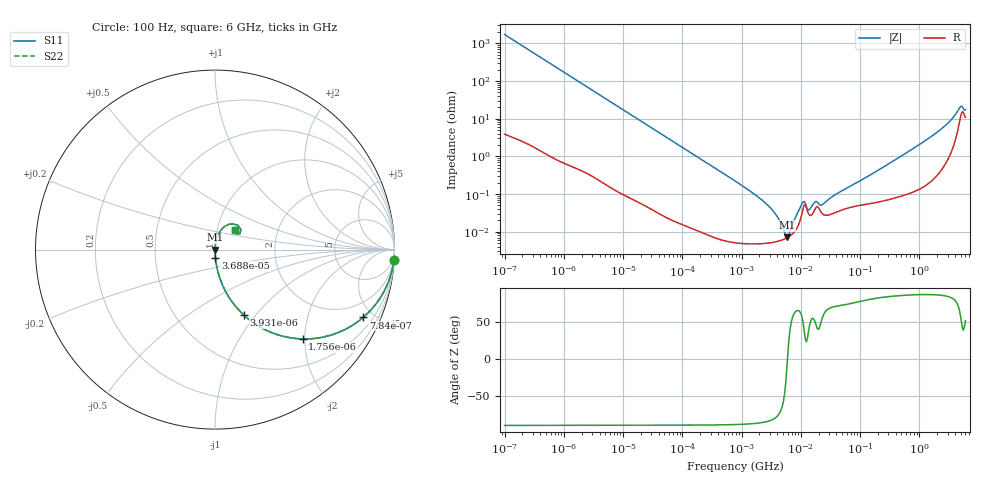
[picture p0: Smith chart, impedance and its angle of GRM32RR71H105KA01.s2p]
!Murata Part Number: GRM32RR71H105KA01
!These Parameters are Measured in Series Mode Connection
!Data Generated on Mar 30, 2021
!  o--ll--o
!Port1  Port2
!  o------o
!Operation Temp=25[degC], DC Bias Voltage=0[V]
!Freq. Start=100[Hz] Stop=6[GHz] 401[Steps]
# Hz S RI R 50
!Freq.(Hz) S11(Real) S11(Imag) S21(Real) S21(Imag) S12(Real) S12(Imag) S22(Real) S22(Imag)
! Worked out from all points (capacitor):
!   401 points, 100 Hz to 6 GHz, reference 50 ohm
!   read as one part in series: C = 934 nF near 109 Hz
!   lowest |Z| = 7.06 mohm at 5.809 MHz (marker M1)
!   series resonance near 5.958 MHz, so ESL is about 760 pH
!   S11 on the Smith chart (normalised r, x): 100 Hz: 1, -34; 784 Hz: 1.02, -4.36; 1.756 kHz: 1.01, -1.95; 3.931 kHz: 1.00, -0.87; 36.88 kHz: 1.00, -0.09; 6 GHz: 1.22, +0.27
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100  0.9964 -0.0585  0.00357 0.0585  0.00357 0.0585  0.9964 -0.0585
366  0.9553 -0.2049  0.0447 0.2049  0.0447 0.2049  0.9553 -0.2049
784  0.8252 -0.378  0.1748 0.378  0.1748 0.378  0.8252 -0.378
1756  0.4875 -0.4975  0.5125 0.4975  0.5125 0.4975  0.4875 -0.4975
2008  0.4216 -0.4914  0.5784 0.4914  0.5784 0.4914  0.4216 -0.4914
3931  0.1616 -0.3655  0.8384 0.3655  0.8384 0.3655  0.1616 -0.3655
8801  0.0378 -0.188  0.9622 0.188  0.9622 0.188  0.0378 -0.188
36880  0.00252 -0.0468  0.9975 0.0468  0.9975 0.0468  0.00252 -0.0468
40335  0.00214 -0.0428  0.9979 0.0428  0.9979 0.0428  0.00214 -0.0428
774597  5.58e-05 -0.00223  0.9999 0.00223  0.9999 0.00223  5.58e-05 -0.00223
2837864  5.02e-05 -0.000483  0.9999 0.000483  0.9999 0.000483  5.02e-05 -0.000483
5809218  6.88e-05 -1.57e-05  0.9999 1.57e-05  0.9999 1.57e-05  6.88e-05 -1.57e-05
6644369  7.88e-05 7.02e-05  0.9999 -7.02e-05  0.9999 -7.02e-05  7.88e-05 7.02e-05
1.087309e7  0.000394 0.000461  0.9996 -0.000461  0.9996 -0.000461  0.000394 0.000461
1.360128e7  0.000293 0.000236  0.9997 -0.000236  0.9997 -0.000236  0.000293 0.000236
1.555665e7  0.000287 0.0004  0.9997 -0.0004  0.9997 -0.0004  0.000287 0.0004
1.779312e7  0.000429 0.000464  0.9996 -0.000464  0.9996 -0.000464  0.000429 0.000464
2.327686e7  0.000297 0.000436  0.9997 -0.000436  0.9997 -0.000436  0.000297 0.000436
3.124326e8  0.000758 0.00644  0.9992 -0.00644  0.9992 -0.00644  0.000758 0.00644
2.048624e9  0.00522 0.0443  0.9948 -0.0443  0.9948 -0.0443  0.00522 0.0443
4.796499e9  0.1013 0.1434  0.8987 -0.1434  0.8987 -0.1434  0.1013 0.1434
6e9  0.1106 0.1073  0.8894 -0.1073  0.8894 -0.1073  0.1106 0.1073
